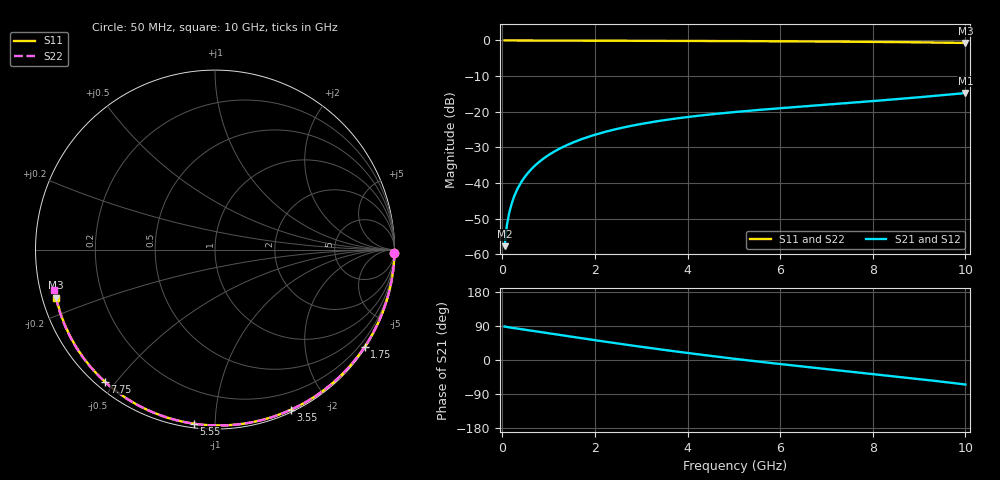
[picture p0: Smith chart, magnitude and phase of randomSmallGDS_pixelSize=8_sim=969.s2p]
! freq	dB(S11)	phase(S11)	dB(S12)	phase(S12)
!  dB(S21)	phase(S21)	dB(S22)	phase(S22)
!S-par simulation data
#  GHz  S  DB  R 50
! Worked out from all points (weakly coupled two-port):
!   200 points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, 50 MHz to 10 GHz, reference 50 ohm
!   highest |S21| = -14.77 dB at 10 GHz (marker M1); lowest = -57.8 dB at 50 MHz (marker M2)
!   lowest |S11| = -0.7 dB at 10 GHz (marker M3), VSWR 25.26, Z = 2.02 - j7.37 ohm
!   |S11| at or under -10 dB: nowhere
!   |S22| runs from -0.7 to 0.0 dB; largest |S21 - S12| = 0
!   S11 on the Smith chart (normalised r, x): 50 MHz: open; 1.75 GHz: 0.04, -3.39; 3.55 GHz: 0.02, -1.58; 5.55 GHz: 0.02, -0.88; 7.75 GHz: 0.03, -0.47; 10 GHz: 0.04, -0.15
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0.05  -0.00 -1.0  -57.76 88.4  -57.76 88.4  -0.00 -1.0
0.1  -0.00 -1.9  -51.81 87.0  -51.81 87.0  -0.00 -1.9
0.15  -0.00 -2.9  -48.36 86.0  -48.36 86.0  -0.00 -2.9
0.2  -0.00 -3.8  -45.91 85.0  -45.91 85.0  -0.00 -3.9
0.25  -0.00 -4.8  -44.01 84.2  -44.01 84.2  -0.00 -4.8
0.35  -0.01 -6.7  -41.14 82.4  -41.14 82.4  -0.01 -6.8
0.5  -0.01 -9.6  -38.08 79.8  -38.08 79.8  -0.01 -9.6
0.7  -0.02 -13.3  -35.20 76.1  -35.20 76.1  -0.02 -13.5
1  -0.03 -19.0  -32.17 70.6  -32.17 70.6  -0.03 -19.2
1.35  -0.04 -25.5  -29.66 64.1  -29.66 64.1  -0.04 -25.8
1.75  -0.05 -32.9  -27.54 56.8  -27.54 56.8  -0.05 -33.2
2.6  -0.08 -48.2  -24.48 41.7  -24.48 41.7  -0.08 -48.7
3.4  -0.10 -62.1  -22.57 28.2  -22.57 28.2  -0.11 -62.8
3.55  -0.11 -64.7  -22.28 25.7  -22.28 25.7  -0.11 -65.4
4.3  -0.14 -77.2  -21.04 13.9  -21.04 13.9  -0.14 -78.0
5.05  -0.18 -89.2  -20.06 2.7  -20.06 2.7  -0.18 -90.2
5.55  -0.20 -97.0  -19.50 -4.4  -19.50 -4.4  -0.20 -98.1
6.7  -0.28 -114.4  -18.33 -20.0  -18.33 -20.0  -0.28 -115.8
7.75  -0.37 -129.9  -17.29 -33.7  -17.29 -33.7  -0.38 -131.6
8.35  -0.44 -138.6  -16.66 -41.6  -16.66 -41.6  -0.44 -140.5
9.2  -0.55 -151.1  -15.72 -53.1  -15.72 -53.1  -0.56 -153.4
10  -0.69 -163.2  -14.77 -64.6  -14.77 -64.6  -0.70 -165.9
